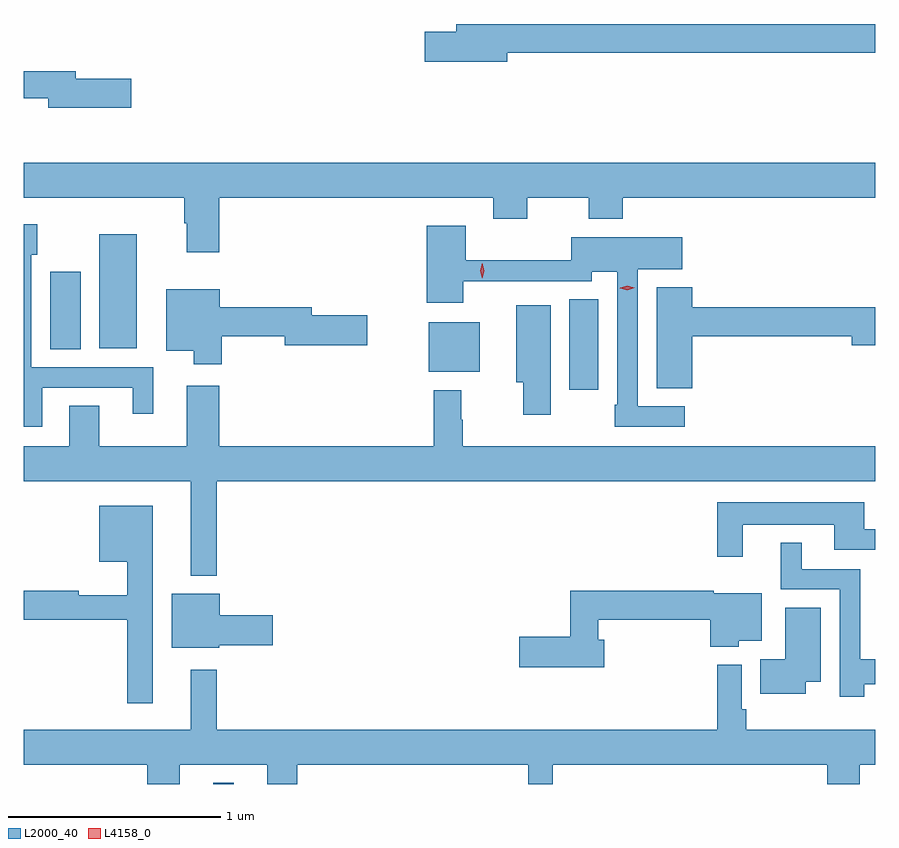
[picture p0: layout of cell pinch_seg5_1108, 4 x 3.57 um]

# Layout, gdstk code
import gdstk
lib = gdstk.Library(unit=1e-6, precision=1e-09)
def R(c, l, rs):  # rectangles x0, y0, x1, y1
    for r in rs: c.add(gdstk.rectangle(r[:2], r[2:], *l))
def P(c, l, *ps):  # polygons
    for p in ps: c.add(gdstk.Polygon(p, *l))
L2000_40 = (2000, 40)
L4158_0 = (4158, 0)

pinch_seg5_1108 = lib.new_cell('pinch_seg5_1108')
R(pinch_seg5_1108, L2000_40, [(780.614,846.013,780.712,846.019), (782.288,847.866,782.425,848.291), (781.628,847.949,781.867,848.182), (779.849,848.056,779.992,848.419), (780.08,848.06,780.256,848.596)])
P(pinch_seg5_1108, L2000_40, [(781.996,849.448),(783.725,849.448),(783.725,849.584),(781.757,849.584),(781.757,849.548),(781.608,849.548),(781.608,849.406),(781.996,849.406)],
  [(780.229,849.326),(779.968,849.326),(779.968,849.362),(779.725,849.362),(779.725,849.234),(779.84,849.234),(779.84,849.191),(780.229,849.191)],
  [(780.644,848.768),(781.931,848.768),(781.931,848.669),(782.091,848.669),(782.091,848.768),(782.38,848.768),(782.38,848.669),(782.54,848.669),(782.54,848.768),(783.725,848.768),(783.725,848.932),(779.725,848.932),(779.725,848.768),(780.479,848.768),(780.479,848.648),(780.491,848.648),(780.491,848.511),(780.644,848.511)],
  [(779.812,847.875),(780.236,847.875),(780.236,847.752),(780.334,847.752),(780.334,847.971),(779.76,847.971),(779.76,848.499),(779.787,848.499),(779.787,848.644),(779.725,848.644),(779.725,847.691),(779.812,847.691)],
  [(782.83,847.788),(782.61,847.788),(782.61,848.432),(782.818,848.432),(782.818,848.581),(782.298,848.581),(782.298,848.474),(781.802,848.474),(781.802,848.635),(781.619,848.635),(781.619,848.274),(781.789,848.274),(781.789,848.376),(782.394,848.376),(782.394,848.42),(782.514,848.42),(782.514,847.795),(782.502,847.795),(782.502,847.692),(782.83,847.692)],
  [(782.866,848.116),(783.614,848.116),(783.614,848.074),(783.725,848.074),(783.725,848.252),(782.866,848.252),(782.866,848.347),(782.699,848.347),(782.699,847.873),(782.866,847.873)],
  [(780.654,848.116),(780.95,848.116),(780.95,848.074),(781.339,848.074),(781.339,848.216),(781.078,848.216),(781.078,848.252),(780.646,848.252),(780.646,848.338),(780.395,848.338),(780.395,848.048),(780.524,848.048),(780.524,847.986),(780.654,847.986)],
  [(782.2,848.263),(782.039,848.263),(782.039,847.901),(782.071,847.901),(782.071,847.749),(782.2,847.749)],
  [(780.631,847.436),(783.725,847.436),(783.725,847.6),(781.787,847.6),(781.787,847.724),(781.78,847.724),(781.78,847.864),(781.651,847.864),(781.651,847.6),(780.644,847.6),(780.644,847.885),(780.491,847.885),(780.491,847.6),(780.079,847.6),(780.079,847.79),(779.939,847.79),(779.939,847.6),(779.725,847.6),(779.725,847.436),(780.509,847.436),(780.509,846.992),(780.631,846.992)],
  [(783.103,847.232),(783.533,847.232),(783.533,847.113),(783.725,847.113),(783.725,847.209),(783.673,847.209),(783.673,847.336),(782.982,847.336),(782.982,847.08),(783.103,847.08)],
  [(780.331,847.321),(780.08,847.321),(780.08,847.058),(780.21,847.058),(780.21,846.901),(779.984,846.901),(779.984,846.92),(779.725,846.92),(779.725,846.784),(780.21,846.784),(780.21,846.393),(780.331,846.393)],
  [(783.674,846.482),(783.725,846.482),(783.725,846.599),(783.656,846.599),(783.656,847.023),(783.379,847.023),(783.379,847.147),(783.281,847.147),(783.281,846.927),(783.558,846.927),(783.558,846.423),(783.674,846.423)],
  [(782.453,846.691),(782.425,846.691),(782.425,846.784),(782.951,846.784),(782.951,846.659),(783.084,846.659),(783.084,846.686),(783.193,846.686),(783.193,846.91),(782.967,846.91),(782.967,846.92),(782.293,846.92),(782.293,846.704),(782.052,846.704),(782.052,846.562),(782.453,846.562)],
  [(780.642,846.664),(780.895,846.664),(780.895,846.806),(780.646,846.806),(780.646,846.907),(780.419,846.907),(780.419,846.653),(780.642,846.653)],
  [(783.4,846.494),(783.469,846.494),(783.469,846.842),(783.302,846.842),(783.302,846.598),(783.184,846.598),(783.184,846.437),(783.4,846.437)],
  [(780.457,846.104),(780.869,846.104),(780.869,846.013),(781.009,846.013),(781.009,846.104),(782.095,846.104),(782.095,846.013),(782.211,846.013),(782.211,846.104),(783.5,846.104),(783.5,846.013),(783.652,846.013),(783.652,846.104),(783.725,846.104),(783.725,846.268),(783.119,846.268),(783.119,846.364),(783.099,846.364),(783.099,846.574),(782.983,846.574),(782.983,846.268),(780.631,846.268),(780.631,846.55),(780.509,846.55),(780.509,846.268),(779.725,846.268),(779.725,846.104),(780.305,846.104),(780.305,846.013),(780.457,846.013)])
P(pinch_seg5_1108, L4158_0, [(782.561,848.334),(782.527,848.343),(782.526,848.343),(782.527,848.344),(782.561,848.354),(782.596,848.345),(782.596,848.345),(782.596,848.344)],
  [(781.878,848.389),(781.878,848.389),(781.869,848.425),(781.879,848.461),(781.879,848.461),(781.879,848.461),(781.889,848.425),(781.879,848.389)])

lib.write_gds('pinch_seg5_1108.gds')
